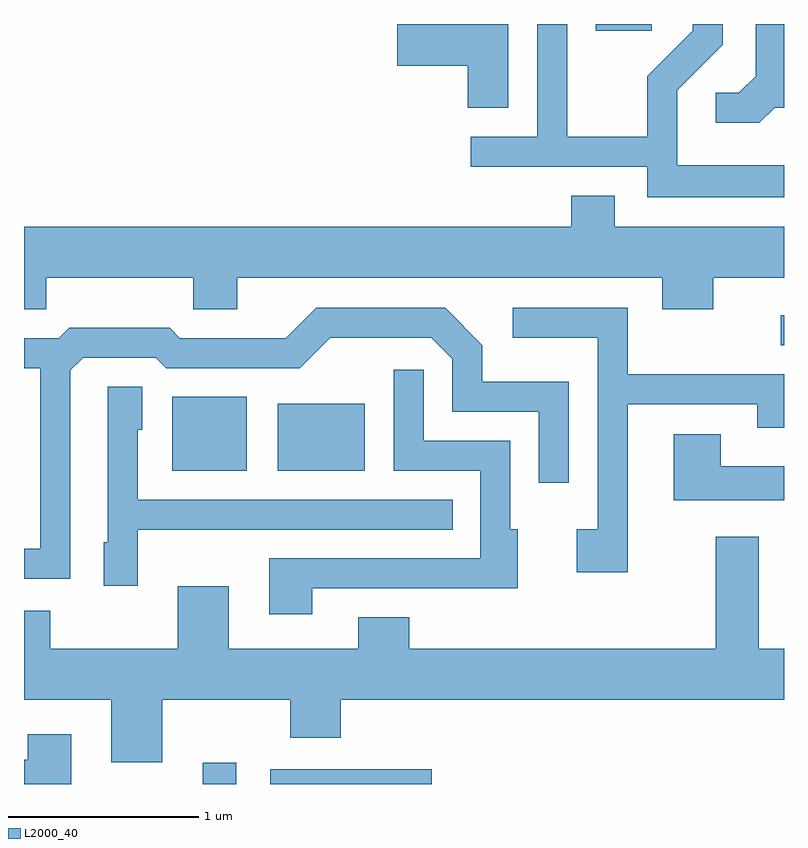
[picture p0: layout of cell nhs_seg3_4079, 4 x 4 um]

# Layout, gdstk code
import gdstk
lib = gdstk.Library(unit=1e-6, precision=1e-09)
def R(c, l, rs):  # rectangles x0, y0, x1, y1
    for r in rs: c.add(gdstk.rectangle(r[:2], r[2:], *l))
def P(c, l, *ps):  # polygons
    for p in ps: c.add(gdstk.Polygon(p, *l))
L2000_40 = (2000, 40)

nhs_seg3_4079 = lib.new_cell('nhs_seg3_4079')
R(nhs_seg3_4079, L2000_40, [(304.551,1249.892,304.729,1250.004), (304.906,1249.892,305.758,1249.969), (304.391,1251.541,304.784,1251.929), (304.946,1251.541,305.404,1251.894), (307.593,1252.201,307.611,1252.359), (306.621,1253.856,306.914,1253.892)])
P(nhs_seg3_4079, L2000_40, [(307.562,1253.451),(307.611,1253.451),(307.611,1253.892),(307.461,1253.892),(307.461,1253.617),(307.374,1253.529),(307.253,1253.529),(307.253,1253.371),(307.482,1253.371)],
  [(307.611,1253.149),(307.049,1253.149),(307.049,1253.544),(307.289,1253.784),(307.289,1253.892),(307.131,1253.892),(307.131,1253.857),(306.891,1253.617),(306.891,1253.299),(306.469,1253.299),(306.469,1253.892),(306.311,1253.892),(306.311,1253.299),(305.963,1253.299),(305.963,1253.141),(306.891,1253.141),(306.891,1252.981),(307.611,1252.981)],
  [(306.159,1253.892),(305.576,1253.892),(305.576,1253.671),(305.946,1253.671),(305.946,1253.451),(306.159,1253.451)],
  [(303.729,1252.556),(304.501,1252.556),(304.501,1252.391),(304.734,1252.391),(304.734,1252.556),(306.971,1252.556),(306.971,1252.391),(307.239,1252.391),(307.239,1252.556),(307.611,1252.556),(307.611,1252.824),(306.719,1252.824),(306.719,1252.989),(306.491,1252.989),(306.491,1252.824),(303.611,1252.824),(303.611,1252.391),(303.729,1252.391)],
  [(303.854,1252.069),(303.922,1252.136),(304.304,1252.136),(304.359,1252.081),(305.062,1252.081),(305.222,1252.241),(305.754,1252.241),(305.866,1252.129),(305.866,1251.851),(306.321,1251.851),(306.321,1251.478),(306.479,1251.478),(306.479,1252.009),(306.024,1252.009),(306.024,1252.202),(305.827,1252.399),(305.149,1252.399),(304.989,1252.239),(304.432,1252.239),(304.377,1252.294),(303.849,1252.294),(303.794,1252.239),(303.611,1252.239),(303.611,1252.081),(303.696,1252.081),(303.696,1251.129),(303.611,1251.129),(303.611,1250.971),(303.854,1250.971)],
  [(306.789,1251.891),(307.471,1251.891),(307.471,1251.766),(307.611,1251.766),(307.611,1252.049),(306.789,1252.049),(306.789,1252.399),(306.183,1252.399),(306.183,1252.241),(306.631,1252.241),(306.631,1251.234),(306.521,1251.234),(306.521,1251.006),(306.789,1251.006)],
  [(305.129,1250.921),(306.209,1250.921),(306.209,1251.234),(306.169,1251.234),(306.169,1251.699),(305.714,1251.699),(305.714,1252.073),(305.556,1252.073),(305.556,1251.541),(306.011,1251.541),(306.011,1251.079),(304.901,1251.079),(304.901,1250.786),(305.129,1250.786)],
  [(304.209,1251.231),(305.868,1251.231),(305.868,1251.389),(304.209,1251.389),(304.209,1251.756),(304.234,1251.756),(304.234,1251.984),(304.051,1251.984),(304.051,1251.164),(304.031,1251.164),(304.031,1250.936),(304.209,1250.936)],
  [(307.611,1251.564),(307.279,1251.564),(307.279,1251.734),(307.031,1251.734),(307.031,1251.386),(307.611,1251.386)],
  [(304.339,1250.336),(305.011,1250.336),(305.011,1250.136),(305.279,1250.136),(305.279,1250.336),(307.611,1250.336),(307.611,1250.604),(307.479,1250.604),(307.479,1251.194),(307.251,1251.194),(307.251,1250.604),(305.639,1250.604),(305.639,1250.769),(305.371,1250.769),(305.371,1250.604),(304.689,1250.604),(304.689,1250.934),(304.421,1250.934),(304.421,1250.604),(303.749,1250.604),(303.749,1250.804),(303.611,1250.804),(303.611,1250.336),(304.071,1250.336),(304.071,1250.006),(304.339,1250.006)],
  [(303.859,1250.154),(303.631,1250.154),(303.631,1250.019),(303.611,1250.019),(303.611,1249.892),(303.859,1249.892)])

lib.write_gds('nhs_seg3_4079.gds')
